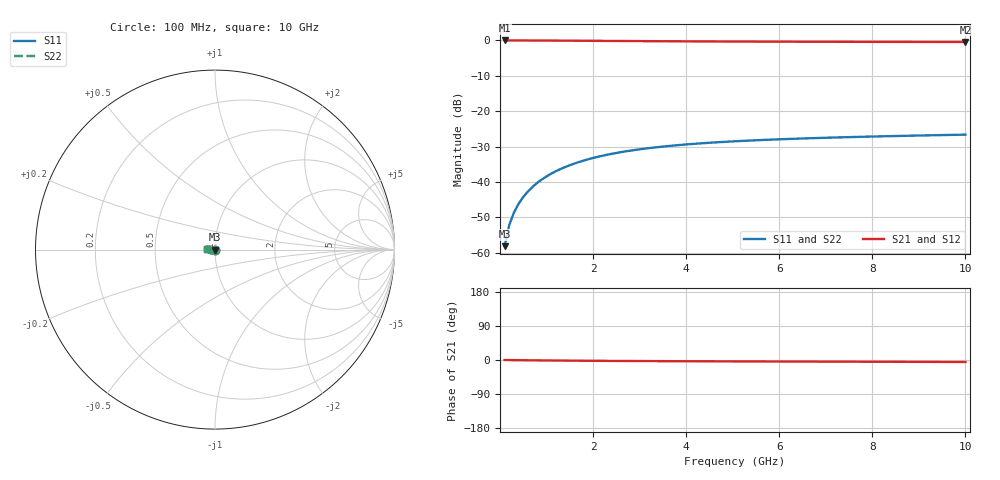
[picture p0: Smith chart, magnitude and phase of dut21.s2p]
! Touchstone file exported from HFSS 2024.1.0
!  File:  C:/UserFiles/LocalFiles/RDL_TSV_Batchsim/temp_TSV1_21_1779369143.aedt
!  Generated:  09:17:04 PM May 21, 2026
!  Design:  TSV1
!  Project:  temp_TSV1_21_1779369143
!  Setup:  Setup1
!  Solution:  Sweep
! Variables:
!  dtsv = 9.97um
!  hbump = 3um
!  htsv = 82.16um
!  lrdl = 252.1521522um
!  p = 40
!  p1 = 49.92um
!  t = 500um
!  trdl = 3um
!  wrdl = 24.89489489um
# GHz S MA R 50.000000
! Terminal data exported
! Port[1] = TSV22_T1
! Port[2] = TSV22_T2
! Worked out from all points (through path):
!   100 points, 100 MHz to 10 GHz, reference 50 ohm
!   highest |S21| = 0.00 dB at 100 MHz (marker M1); lowest = -0.4 dB at 10 GHz (marker M2)
!   lowest |S11| = -58.1 dB at 100 MHz (marker M3), VSWR 1.00, Z = 50 - j0.124 ohm
!   |S11| at or under -10 dB: start of sweep to end of sweep
!   |S22| runs from -58.1 to -26.6 dB; largest |S21 - S12| = 3.7e-15
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0.1  0.001242 -84.9  0.9998 -0.1  0.9998 -0.1  0.001242 -84.9
! Gamma 0 0 0 0
! Port Impedance 50 0 50 0
0.2  0.002472 -90.0  0.9997 -0.3  0.9997 -0.3  0.002472 -90.0
0.3  0.003703 -92.9  0.9995 -0.4  0.9995 -0.4  0.003703 -92.9
0.4  0.004931 -95.2  0.9992 -0.5  0.9992 -0.5  0.004931 -95.2
0.5  0.00615 -97.3  0.9988 -0.6  0.9988 -0.6  0.00615 -97.3
0.6  0.007356 -99.4  0.9984 -0.7  0.9984 -0.7  0.007356 -99.4
0.7  0.008548 -101.3  0.9979 -0.9  0.9979 -0.9  0.008548 -101.3
0.8  0.009721 -103.2  0.9974 -1.0  0.9974 -1.0  0.009721 -103.2
0.9  0.01087 -105.0  0.9967 -1.1  0.9967 -1.1  0.01087 -105.0
1.1  0.01311 -108.6  0.9954 -1.3  0.9954 -1.3  0.01311 -108.6
1.4  0.01628 -113.7  0.9931 -1.6  0.9931 -1.6  0.01628 -113.7
1.6  0.01825 -116.9  0.9913 -1.8  0.9913 -1.8  0.01825 -116.9
1.8  0.02011 -120.0  0.9896 -2.0  0.9896 -2.0  0.02011 -120.0
2.1  0.02269 -124.4  0.9868 -2.2  0.9868 -2.2  0.02269 -124.4
2.5  0.02574 -129.8  0.9832 -2.5  0.9832 -2.5  0.02574 -129.8
2.9  0.02838 -134.8  0.9797 -2.7  0.9797 -2.7  0.02838 -134.8
3.4  0.03118 -140.4  0.9757 -3.0  0.9757 -3.0  0.03118 -140.4
4.2  0.03475 -148.2  0.9701 -3.3  0.9701 -3.3  0.03475 -148.2
5.1  0.03779 -155.6  0.9651 -3.7  0.9651 -3.7  0.03779 -155.6
6.7  0.04163 -166.3  0.9587 -4.2  0.9587 -4.2  0.04163 -166.3
8.4  0.04453 -175.3  0.9542 -4.7  0.9542 -4.7  0.04453 -175.3
10  0.04672 177.6  0.9513 -5.3  0.9513 -5.3  0.04672 177.6
